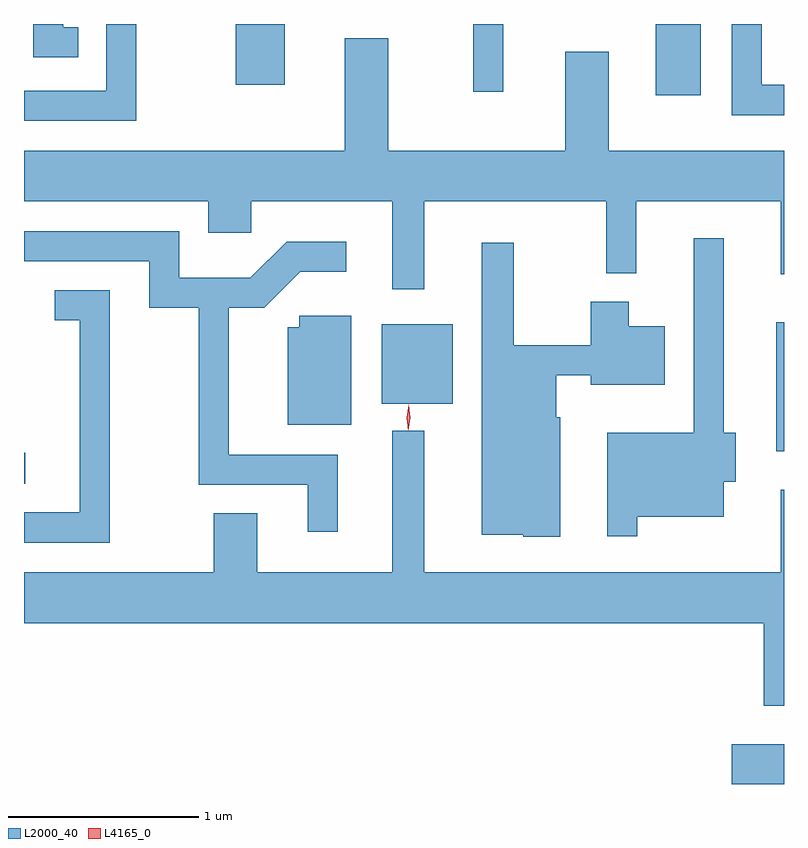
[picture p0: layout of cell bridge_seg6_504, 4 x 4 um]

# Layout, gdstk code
import gdstk
lib = gdstk.Library(unit=1e-6, precision=1e-09)
def R(c, l, rs):  # rectangles x0, y0, x1, y1
    for r in rs: c.add(gdstk.rectangle(r[:2], r[2:], *l))
def P(c, l, *ps):  # polygons
    for p in ps: c.add(gdstk.Polygon(p, *l))
L2000_40 = (2000, 40)
L4165_0 = (4165, 0)

bridge_seg6_504 = lib.new_cell('bridge_seg6_504')
R(bridge_seg6_504, L2000_40, [(544.216,1642.43,544.492,1642.639), (540.492,1644.011,540.498,1644.174), (544.451,1644.181,544.492,1644.859), (542.376,1644.431,542.749,1644.849), (543.816,1646.056,544.054,1646.43), (542.856,1646.073,543.014,1646.43), (541.606,1646.111,541.864,1646.43)])
P(bridge_seg6_504, L2000_40, [(540.778,1646.414),(540.699,1646.414),(540.699,1646.43),(540.541,1646.43),(540.541,1646.256),(540.778,1646.256)],
  [(544.492,1646.109),(544.374,1646.109),(544.374,1646.43),(544.216,1646.43),(544.216,1645.951),(544.492,1645.951)],
  [(541.084,1646.43),(540.926,1646.43),(540.926,1646.079),(540.492,1646.079),(540.492,1645.921),(541.084,1645.921)],
  [(542.599,1645.496),(543.556,1645.496),(543.556,1645.118),(543.714,1645.118),(543.714,1645.496),(544.476,1645.496),(544.476,1645.113),(544.492,1645.113),(544.492,1645.764),(543.569,1645.764),(543.569,1646.284),(543.341,1646.284),(543.341,1645.764),(542.409,1645.764),(542.409,1646.354),(542.181,1646.354),(542.181,1645.764),(540.492,1645.764),(540.492,1645.496),(541.461,1645.496),(541.461,1645.331),(541.689,1645.331),(541.689,1645.496),(542.431,1645.496),(542.431,1645.033),(542.599,1645.033)],
  [(542.144,1644.164),(541.569,1644.164),(541.569,1644.936),(541.757,1644.936),(541.947,1645.126),(542.188,1645.126),(542.188,1645.284),(541.874,1645.284),(541.684,1645.094),(541.309,1645.094),(541.309,1645.339),(540.492,1645.339),(540.492,1645.181),(541.151,1645.181),(541.151,1644.936),(541.411,1644.936),(541.411,1644.006),(541.986,1644.006),(541.986,1643.758),(542.144,1643.758)],
  [(543.719,1643.836),(544.174,1643.836),(544.174,1644.021),(544.239,1644.021),(544.239,1644.279),(544.174,1644.279),(544.174,1645.303),(544.016,1645.303),(544.016,1644.279),(543.561,1644.279),(543.561,1643.733),(543.719,1643.733)],
  [(543.314,1644.359),(543.294,1644.359),(543.294,1644.581),(543.476,1644.581),(543.476,1644.531),(543.864,1644.531),(543.864,1644.839),(543.674,1644.839),(543.674,1644.969),(543.476,1644.969),(543.476,1644.739),(543.069,1644.739),(543.069,1645.278),(542.901,1645.278),(542.901,1643.741),(543.12,1643.741),(543.12,1643.731),(543.314,1643.731)],
  [(540.944,1645.029),(540.653,1645.029),(540.653,1644.871),(540.786,1644.871),(540.786,1643.859),(540.492,1643.859),(540.492,1643.701),(540.944,1643.701)],
  [(542.214,1644.894),(541.941,1644.894),(541.941,1644.834),(541.881,1644.834),(541.881,1644.321),(542.214,1644.321)],
  [(544.492,1643.978),(544.476,1643.978),(544.476,1643.544),(542.599,1643.544),(542.599,1644.288),(542.431,1644.288),(542.431,1643.544),(541.719,1643.544),(541.719,1643.854),(541.491,1643.854),(541.491,1643.544),(540.492,1643.544),(540.492,1643.276),(544.386,1643.276),(544.386,1642.843),(544.492,1642.843)])
P(bridge_seg6_504, L4165_0, [(542.514,1644.293),(542.506,1644.358),(542.516,1644.421),(542.517,1644.422),(542.518,1644.421),(542.526,1644.357),(542.515,1644.293),(542.515,1644.293)],
  [(542.514,1644.29),(542.506,1644.358),(542.516,1644.426),(542.517,1644.426),(542.518,1644.426),(542.526,1644.358),(542.515,1644.29),(542.515,1644.29)])

lib.write_gds('bridge_seg6_504.gds')
